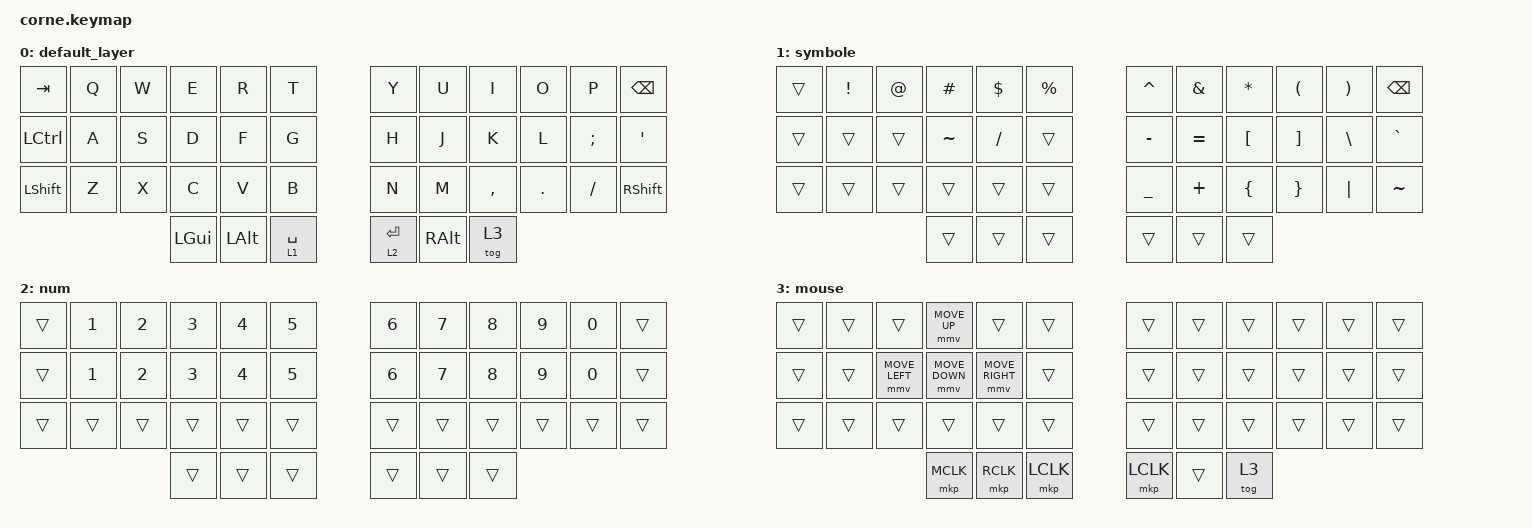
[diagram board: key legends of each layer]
/*
 * Copyright (c) 2020 The ZMK Contributors
 *
 * SPDX-License-Identifier: MIT
 */

#include <behaviors.dtsi>
#include <dt-bindings/zmk/keys.h>
#include <dt-bindings/zmk/pointing.h>

/ {
    combos {
        compatible = "zmk,combos";

        Escape {
            bindings = <&kp ESCAPE>;
            key-positions = <38 39>;
        };
    };

    keymap {
        compatible = "zmk,keymap";

        default_layer {
            // -----------------------------------------------------------------------------------------
            // |  TAB |  Q  |  W  |  E  |  R  |  T  |   |  Y  |  U   |  I  |  O  |  P  | BSPC |
            // | CTRL |  A  |  S  |  D  |  F  |  G  |   |  H  |  J   |  K  |  L  |  ;  |  '   |
            // | SHFT |  Z  |  X  |  C  |  V  |  B  |   |  N  |  M   |  ,  |  .  |  /  | ESC  |
            //                    | GUI | LWR | SPC |   | ENT | RSE  | ALT |

            bindings = <
&kp TAB         &kp Q  &kp W  &kp E         &kp R     &kp T          &kp Y        &kp U     &kp I      &kp O    &kp P     &kp BSPC
&kp LCTRL       &kp A  &kp S  &kp D         &kp F     &kp G          &kp H        &kp J     &kp K      &kp L    &kp SEMI  &kp SQT
&kp LEFT_SHIFT  &kp Z  &kp X  &kp C         &kp V     &kp B          &kp N        &kp M     &kp COMMA  &kp DOT  &kp FSLH  &kp RIGHT_SHIFT
                              &kp LEFT_GUI  &kp LALT  &lt 1 SPACE    &lt 2 ENTER  &kp RALT  &tog 3
            >;
        };

        symbole {
            // -----------------------------------------------------------------------------------------
            // |  TAB |  !  |  @  |  #  |  $  |  %  |   |  ^  |  &  |  *  |  (  |  )  | BSPC |
            // | CTRL |     |     |     |     |     |   |  -  |  =  |  [  |  ]  |  \  |  `   |
            // | SHFT |     |     |     |     |     |   |  _  |  +  |  {  |  }  | "|" |  ~   |
            //                    | GUI |     | SPC |   | ENT |     | ALT |

            bindings = <
&trans  &kp EXCL  &kp AT  &kp HASH   &kp DLLR   &kp PRCNT    &kp CARET  &kp AMPS   &kp ASTRK  &kp LPAR  &kp RPAR  &kp BSPC
&trans  &trans    &trans  &kp TILDE  &kp SLASH  &trans       &kp MINUS  &kp EQUAL  &kp LBKT   &kp RBKT  &kp BSLH  &kp GRAVE
&trans  &trans    &trans  &trans     &trans     &trans       &kp UNDER  &kp PLUS   &kp LBRC   &kp RBRC  &kp PIPE  &kp TILDE
                          &trans     &trans     &trans       &trans     &trans     &trans
            >;
        };

        num {
            bindings = <
&trans  &kp N1  &kp N2  &kp N3  &kp N4  &kp N5    &kp N6  &kp N7  &kp N8  &kp N9  &kp N0  &trans
&trans  &kp N1  &kp N2  &kp N3  &kp N4  &kp N5    &kp N6  &kp N7  &kp N8  &kp N9  &kp N0  &trans
&trans  &trans  &trans  &trans  &trans  &trans    &trans  &trans  &trans  &trans  &trans  &trans
                        &trans  &trans  &trans    &trans  &trans  &trans
            >;
        };

        mouse {
            bindings = <
&trans  &trans  &trans          &mmv MOVE_UP    &trans           &trans       &trans     &trans  &trans  &trans  &trans  &trans
&trans  &trans  &mmv MOVE_LEFT  &mmv MOVE_DOWN  &mmv MOVE_RIGHT  &trans       &trans     &trans  &trans  &trans  &trans  &trans
&trans  &trans  &trans          &trans          &trans           &trans       &trans     &trans  &trans  &trans  &trans  &trans
                                &mkp MCLK       &mkp RCLK        &mkp LCLK    &mkp LCLK  &trans  &tog 3
            >;
        };
    };
};
